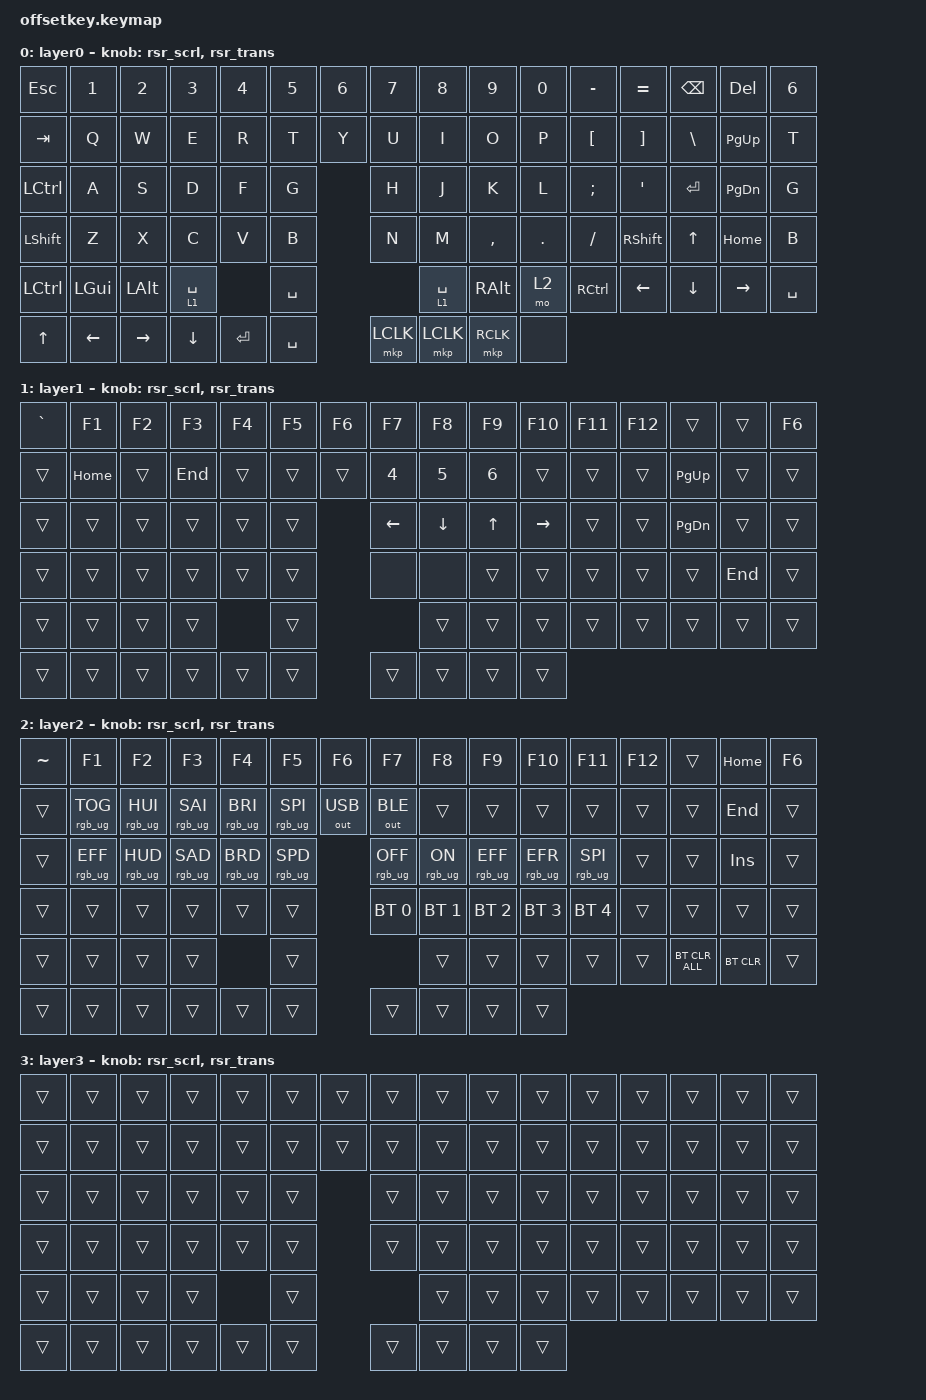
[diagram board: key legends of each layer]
#define BASE 0
#define LOWER 1
#define MOUSE_KEYS 2
#define MOUSE_TP 3
#define MOUSE_TP_SET 4

#define ZMK_POINTING_DEFAULT_SCRL_VAL 100

#include <zephyr/dt-bindings/input/input-event-codes.h>
#include <behaviors/toggle_io.dtsi>
#include <behaviors/on_io.dtsi>
#include <behaviors/off_io.dtsi>
#include <dt-bindings/zmk/rgb.h>
#include <dt-bindings/zmk/outputs.h>
#include <input/processors.dtsi>
#include <behaviors.dtsi>
#include <dt-bindings/zmk/bt.h>
#include <dt-bindings/zmk/keys.h>
#include <dt-bindings/zmk/pointing.h>
#include <behaviors/runtime-sensor-rotate.dtsi>

&mmv_input_listener { input-processors = <&zip_xy_scaler 2 1>; };

&msc_input_listener { input-processors = <&zip_scroll_scaler 2 1>; };

&msc {
    /*
     * The encoder taps &msc for only tap-ms (~30ms) per detent. &msc ramps
     * scroll velocity up from zero, so with acceleration the first tick's
     * movement (~0.26 units) truncates to 0 and the sub-unit remainder is
     * discarded on release -> every detent emits 0 scroll, regardless of the
     * scroll value. Uniform speed (exponent 0) gives full velocity on the
     * first tick, so each detent produces a whole scroll unit.
     */
    acceleration-exponent = <0>;
    time-to-max-speed-ms = <100>;
    delay-ms = <0>;
};

&mmv {
    time-to-max-speed-ms = <500>;
    acceleration-exponent = <1>;
    trigger-period-ms = <16>;
};


/ {
    behaviors {
        rsr_vol: rsr_vol {
            compatible = "zmk,behavior-runtime-sensor-rotate";
            #sensor-binding-cells = <0>;
            tap-ms = <5>;
            cw-binding = <&kp C_VOL_UP>;
            ccw-binding = <&kp C_VOL_DN>;
        };

        rsr_scrl: rsr_scrl {
            compatible = "zmk,behavior-runtime-sensor-rotate";
            #sensor-binding-cells = <0>;
            tap-ms = <30>;
            cw-binding = <&msc SCRL_UP>;
            ccw-binding = <&msc SCRL_DOWN>;
        };

        rsr_trans: rsr_trans {
            compatible = "zmk,behavior-runtime-sensor-rotate";
            #sensor-binding-cells = <0>;
            tap-ms = <0>;
        };

        ltq: ltq {
            compatible = "zmk,behavior-hold-tap";
            label = "LTQ";
            bindings = <&mo>, <&kp>;

            #binding-cells = <2>;
            tapping-term-ms = <200>;
            quick-tap-ms = <180>;
        };
    };

    combos {
        compatible = "zmk,combos";

        flash {
            bindings = <&bootloader>;
            key-positions = <0 11>;
        };
    };

    keymap {
        compatible = "zmk,keymap";

        BASE {
            bindings = <
 &kp ESC       &kp N1          &kp N2           &kp N3          &kp N4     &kp N5     &kp N6      &kp N7     &kp N8     &kp N9         &kp N0   &kp MINUS  &kp EQUAL  &kp BSPC      &kp DELETE                       &kp NUMBER_6
 &kp TAB       &kp Q           &kp W            &kp E           &kp R      &kp T                  &kp Y      &kp U      &kp I          &kp O    &kp P      &kp LBKT   &kp RBKT      &kp BSLH         &kp PG_UP       &kp T
 &kp LCTRL     &kp A           &kp S            &kp D           &kp F      &kp G                  &kp H      &kp J      &kp K          &kp L    &kp SEMI   &kp APOS   &kp ENTER     &kp PG_DN                        &kp G
 &kp LSHFT     &kp Z           &kp X            &kp C           &kp V      &kp B                  &kp N      &kp M      &kp COMMA      &kp DOT  &kp FSLH   &kp RSHFT  &kp UP_ARROW  &kp HOME                         &kp B
 &kp LCTRL     &kp LEFT_GUI    &kp LEFT_ALT     &ltq 1 SPACE               &kp SPACE                         &ltq 1 SPACE  &kp RIGHT_ALT  &mo 2    &kp RCTRL  &kp LEFT   &kp DOWN      &kp RIGHT                     &kp SPACE
 &kp UP_ARROW  &kp LEFT_ARROW  &kp RIGHT_ARROW  &kp DOWN_ARROW  &kp ENTER  &kp SPACE              &mkp LCLK  &mkp LCLK  &mkp RCLK      &none
            >;

            label = "layer0";
            sensor-bindings = <&rsr_scrl &rsr_trans>;
        };

        layer_1 {
            bindings = <
 &kp GRAVE  &kp F1    &kp F2  &kp F3   &kp F4  &kp F5  &kp F6      &kp F7    &kp F8        &kp F9        &kp F10       &kp F11  &kp F12  &trans     &trans      &kp F6
 &trans     &kp HOME  &trans  &kp END  &trans  &trans              &trans    &kp NUMBER_4  &kp NUMBER_5  &kp NUMBER_6  &trans   &trans   &trans     &kp PG_UP   &trans   &trans
 &trans     &trans    &trans  &trans   &trans  &trans              &kp LEFT  &kp DOWN      &kp UP        &kp RIGHT     &trans   &trans   &kp PG_DN  &trans                 &trans
 &trans     &trans    &trans  &trans   &trans  &trans              &none     &none         &trans        &trans        &trans   &trans   &trans     &kp END                &trans
 &trans     &trans  &trans  &trans          &trans                      &trans        &trans        &trans        &trans   &trans   &trans     &trans               &trans
 &trans     &trans  &trans  &trans  &trans  &trans              &trans  &trans        &trans        &trans
            >;

            label = "layer1";
            sensor-bindings = <&rsr_scrl &rsr_trans>;
        };

        layer_2 {
            bindings = <
 &kp TILDE  &kp F1  &kp F2  &kp F3  &kp F4  &kp F5  &kp F6      &kp F7           &kp F8          &kp F9           &kp F10          &kp F11          &kp F12  &trans          &kp HOME             &kp F6
 &trans     &rgb_ug RGB_TOG  &rgb_ug RGB_HUI  &rgb_ug RGB_SAI  &rgb_ug RGB_BRI  &rgb_ug RGB_SPI              &out OUT_USB     &out OUT_BLE    &trans           &trans           &trans           &trans   &trans          &trans      &kp END  &trans
 &trans     &rgb_ug RGB_EFF  &rgb_ug RGB_HUD  &rgb_ug RGB_SAD  &rgb_ug RGB_BRD  &rgb_ug RGB_SPD              &rgb_ug RGB_OFF  &rgb_ug RGB_ON  &rgb_ug RGB_EFF  &rgb_ug RGB_EFR  &rgb_ug RGB_SPI  &trans   &trans          &kp INSERT           &trans
 &trans     &trans  &trans  &trans  &trans  &trans              &bt BT_SEL 0     &bt BT_SEL 1    &bt BT_SEL 2     &bt BT_SEL 3     &bt BT_SEL 4     &trans   &trans          &trans               &trans
 &trans     &trans  &trans  &trans          &trans                               &trans          &trans           &trans           &trans           &trans   &bt BT_CLR_ALL  &bt BT_CLR           &trans
 &trans     &trans  &trans  &trans  &trans  &trans              &trans           &trans          &trans           &trans
            >;

            label = "layer2";
            sensor-bindings = <&rsr_scrl &rsr_trans>;
        };

        layer_3 {
            bindings = <
 &trans  &trans  &trans  &trans  &trans  &trans  &trans      &trans  &trans  &trans  &trans  &trans  &trans  &trans  &trans          &trans
 &trans  &trans  &trans  &trans  &trans  &trans              &trans  &trans  &trans  &trans  &trans  &trans  &trans  &trans  &trans  &trans
 &trans  &trans  &trans  &trans  &trans  &trans              &trans  &trans  &trans  &trans  &trans  &trans  &trans  &trans          &trans
 &trans  &trans  &trans  &trans  &trans  &trans              &trans  &trans  &trans  &trans  &trans  &trans  &trans  &trans          &trans
 &trans  &trans  &trans  &trans          &trans                      &trans  &trans  &trans  &trans  &trans  &trans  &trans          &trans
 &trans  &trans  &trans  &trans  &trans  &trans              &trans  &trans  &trans  &trans
            >;

            label = "layer3";
            sensor-bindings = <&rsr_scrl &rsr_trans>;
        };
    };
};
